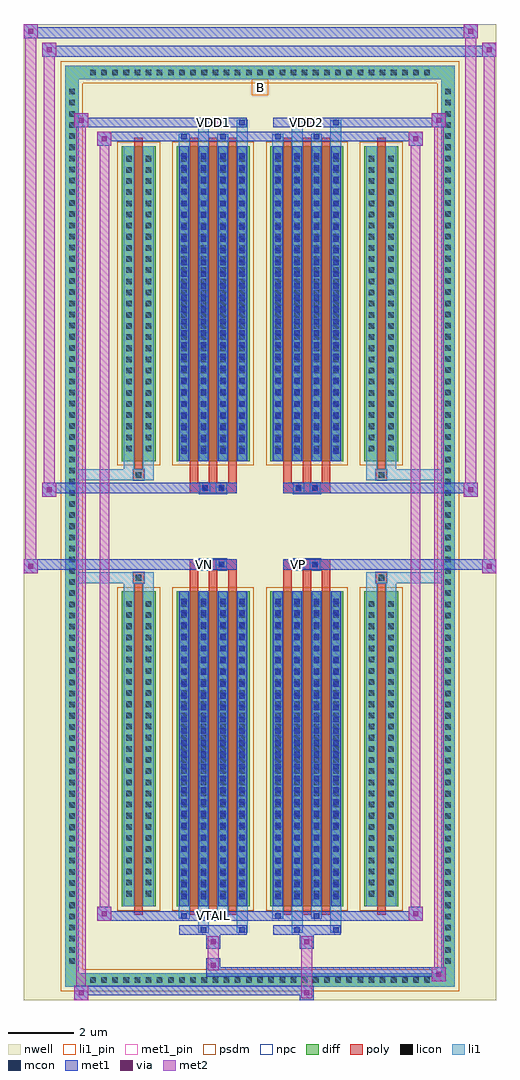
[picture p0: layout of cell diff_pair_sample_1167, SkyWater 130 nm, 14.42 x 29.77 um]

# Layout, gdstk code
import gdstk
lib = gdstk.Library(unit=1e-6, precision=5e-09)
def R(c, l, rs):  # rectangles x0, y0, x1, y1
    for r in rs: c.add(gdstk.rectangle(r[:2], r[2:], *l))
def A(c, l, x, y, w, h, nx, ny, dx, dy):  # array of equal rectangles
    R(c, l, [(x+i*dx, y+j*dy, x+i*dx+w, y+j*dy+h) for i in range(nx) for j in range(ny)])
def P(c, l, *ps):  # polygons
    for p in ps: c.add(gdstk.Polygon(p, *l))
nwell = (64, 20)
diff = (65, 20)
poly = (66, 20)
licon = (66, 44)
li1_pin = (67, 16)
li1 = (67, 20)
mcon = (67, 44)
met1_pin = (68, 16)
met1 = (68, 20)
via = (68, 44)
met2 = (69, 20)
psdm = (94, 20)
npc = (95, 20)

diff_pair_sample_1167 = lib.new_cell('diff_pair_sample_1167')
R(diff_pair_sample_1167, nwell, [(-7.21,-14.45,7.21,15.32), (-4.53,-12.64,-0.01,-0.8), (0.01,-12.64,4.53,-0.8), (-4.53,0.8,-0.01,12.64), (0.01,0.8,4.53,12.64)])
A(diff_pair_sample_1167, diff, -5.305, -14.05, 0.41, 0.41, 31, 2, 0.34, 27.69)
A(diff_pair_sample_1167, diff, -5.94, -13.465, 0.41, 0.41, 1, 79, 0, 0.34)
A(diff_pair_sample_1167, diff, 5.53, -13.465, 0.41, 0.41, 1, 79, 0, 0.34)
R(diff_pair_sample_1167, diff, [(-5.305,-14.05,5.305,-13.64), (-5.94,-13.465,-5.53,13.465), (5.53,-13.465,5.94,13.465), (-4.22,-11.595,-3.18,-1.985), (-2.54,-11.595,-0.32,-1.985), (0.32,-11.595,2.54,-1.985), (3.18,-11.595,4.22,-1.985), (-4.22,1.985,-3.18,11.595), (-2.54,1.985,-0.32,11.595), (0.32,1.985,2.54,11.595), (3.18,1.985,4.22,11.595), (-5.305,13.64,5.305,14.05)])
P(diff_pair_sample_1167, diff, [(5.94,14.05),(-5.94,14.05),(-5.94,-13.64),(-5.53,-13.64),(-5.53,13.64),(5.53,13.64),(5.53,-13.64),(-5.53,-13.64),(-5.94,-13.64),(-5.94,-14.05),(5.94,-14.05)])
A(diff_pair_sample_1167, poly, -2.15, -11.845, 0.26, 10.11, 3, 2, 0.59, 13.58)
A(diff_pair_sample_1167, poly, 0.71, -11.845, 0.26, 10.11, 3, 2, 0.59, 13.58)
A(diff_pair_sample_1167, poly, -2.15, -1.735, 0.26, 0.405, 3, 2, 0.59, 3.065)
A(diff_pair_sample_1167, poly, 0.71, -1.735, 0.26, 0.405, 3, 2, 0.59, 3.065)
R(diff_pair_sample_1167, poly, [(-3.83,-11.845,-3.57,-1.735), (3.57,-11.845,3.83,-1.735), (-3.865,-1.735,-3.535,-1.405), (-3.865,-1.735,-3.535,-1.405), (3.535,-1.735,3.865,-1.405), (3.535,-1.735,3.865,-1.405), (-2.15,-1.33,-0.71,-1), (-1.845,-1.33,-1.515,-1), (-1.345,-1.33,-1.015,-1), (0.71,-1.33,2.15,-1), (1.015,-1.33,1.345,-1), (1.515,-1.33,1.845,-1), (-2.15,1,-0.71,1.33), (-1.845,1,-1.515,1.33), (-1.345,1,-1.015,1.33), (0.71,1,2.15,1.33), (1.015,1,1.345,1.33), (1.515,1,1.845,1.33), (-3.865,1.405,-3.535,1.735), (-3.865,1.405,-3.535,1.735), (3.535,1.405,3.865,1.735), (3.535,1.405,3.865,1.735), (-3.83,1.735,-3.57,11.845), (3.57,1.735,3.83,11.845)])
A(diff_pair_sample_1167, licon, -5.185, -13.93, 0.17, 0.17, 31, 2, 0.34, 27.69)
A(diff_pair_sample_1167, licon, -5.82, -13.345, 0.17, 0.17, 1, 79, 0, 0.34)
A(diff_pair_sample_1167, licon, 5.65, -13.345, 0.17, 0.17, 1, 79, 0, 0.34)
A(diff_pair_sample_1167, licon, -4.08, -11.295, 0.17, 0.17, 1, 27, 0, 0.34)
A(diff_pair_sample_1167, licon, -3.49, -11.295, 0.17, 0.17, 1, 27, 0, 0.34)
A(diff_pair_sample_1167, licon, -2.4, -11.295, 0.17, 0.17, 4, 27, 0.59, 0.34)
A(diff_pair_sample_1167, licon, 0.46, -11.295, 0.17, 0.17, 4, 27, 0.59, 0.34)
A(diff_pair_sample_1167, licon, 3.32, -11.295, 0.17, 0.17, 1, 27, 0, 0.34)
A(diff_pair_sample_1167, licon, 3.91, -11.295, 0.17, 0.17, 1, 27, 0, 0.34)
A(diff_pair_sample_1167, licon, -4.08, 2.285, 0.17, 0.17, 1, 27, 0, 0.34)
A(diff_pair_sample_1167, licon, -3.49, 2.285, 0.17, 0.17, 1, 27, 0, 0.34)
A(diff_pair_sample_1167, licon, -2.4, 2.285, 0.17, 0.17, 4, 27, 0.59, 0.34)
A(diff_pair_sample_1167, licon, 0.46, 2.285, 0.17, 0.17, 4, 27, 0.59, 0.34)
A(diff_pair_sample_1167, licon, 3.32, 2.285, 0.17, 0.17, 1, 27, 0, 0.34)
A(diff_pair_sample_1167, licon, 3.91, 2.285, 0.17, 0.17, 1, 27, 0, 0.34)
R(diff_pair_sample_1167, licon, [(-3.785,-1.655,-3.615,-1.485), (3.615,-1.655,3.785,-1.485), (-1.765,-1.25,-1.595,-1.08), (-1.265,-1.25,-1.095,-1.08), (1.095,-1.25,1.265,-1.08), (1.595,-1.25,1.765,-1.08), (-1.765,1.08,-1.595,1.25), (-1.265,1.08,-1.095,1.25), (1.095,1.08,1.265,1.25), (1.595,1.08,1.765,1.25), (-3.785,1.485,-3.615,1.655), (3.615,1.485,3.785,1.655)])
R(diff_pair_sample_1167, li1_pin, [(-0.25,13.14,0.25,13.64)])
A(diff_pair_sample_1167, li1, -5.265, -14.01, 0.33, 0.33, 31, 2, 0.34, 27.69)
A(diff_pair_sample_1167, li1, -5.9, -13.425, 0.33, 0.33, 1, 79, 0, 0.34)
A(diff_pair_sample_1167, li1, 5.57, -13.425, 0.33, 0.33, 1, 79, 0, 0.34)
A(diff_pair_sample_1167, li1, -2.48, -11.595, 0.33, 9.61, 4, 2, 0.59, 13.58)
A(diff_pair_sample_1167, li1, 0.38, -11.595, 0.33, 9.61, 4, 2, 0.59, 13.58)
A(diff_pair_sample_1167, li1, -4.16, -11.375, 0.33, 0.33, 1, 27, 0, 0.34)
A(diff_pair_sample_1167, li1, -3.57, -11.375, 0.33, 0.33, 1, 27, 0, 0.34)
A(diff_pair_sample_1167, li1, -2.48, -11.375, 0.33, 0.33, 4, 27, 0.59, 0.34)
A(diff_pair_sample_1167, li1, -2.4, -11.375, 0.17, 0.17, 4, 26, 0.59, 0.36)
A(diff_pair_sample_1167, li1, -2.4, -11.375, 0.17, 9.17, 4, 2, 0.59, 13.58)
A(diff_pair_sample_1167, li1, 0.38, -11.375, 0.33, 0.33, 4, 27, 0.59, 0.34)
A(diff_pair_sample_1167, li1, 0.46, -11.375, 0.17, 0.17, 4, 26, 0.59, 0.36)
A(diff_pair_sample_1167, li1, 0.46, -11.375, 0.17, 9.17, 4, 2, 0.59, 13.58)
A(diff_pair_sample_1167, li1, 3.24, -11.375, 0.33, 0.33, 1, 27, 0, 0.34)
A(diff_pair_sample_1167, li1, 3.83, -11.375, 0.33, 0.33, 1, 27, 0, 0.34)
A(diff_pair_sample_1167, li1, -4.16, 2.205, 0.33, 0.33, 1, 27, 0, 0.34)
A(diff_pair_sample_1167, li1, -3.57, 2.205, 0.33, 0.33, 1, 27, 0, 0.34)
A(diff_pair_sample_1167, li1, -2.48, 2.205, 0.33, 0.33, 4, 27, 0.59, 0.34)
A(diff_pair_sample_1167, li1, -2.4, 2.205, 0.17, 0.17, 4, 26, 0.59, 0.36)
A(diff_pair_sample_1167, li1, 0.38, 2.205, 0.33, 0.33, 4, 27, 0.59, 0.34)
A(diff_pair_sample_1167, li1, 0.46, 2.205, 0.17, 0.17, 4, 26, 0.59, 0.36)
A(diff_pair_sample_1167, li1, 3.24, 2.205, 0.33, 0.33, 1, 27, 0, 0.34)
A(diff_pair_sample_1167, li1, 3.83, 2.205, 0.33, 0.33, 1, 27, 0, 0.34)
R(diff_pair_sample_1167, li1, [(-5.94,-14.05,-5.53,-13.64), (-5.94,-14.05,-5.53,-13.64), (-5.53,-14.05,5.53,-13.64), (5.53,-14.05,5.94,-13.64), (5.53,-14.05,5.94,-13.64), (-5.94,-13.64,-5.53,13.64), (5.53,-13.64,5.94,13.64), (-1.89,-12.4,-1.56,-11.595), (-1.81,-12.4,-1.64,-12.23), (-0.71,-12.4,-0.38,-11.595), (-0.63,-12.4,-0.46,-12.23), (0.97,-12.4,1.3,-11.595), (1.05,-12.4,1.22,-12.23), (2.15,-12.4,2.48,-11.595), (2.23,-12.4,2.4,-12.23), (-2.48,-11.97,-2.15,-11.595), (-2.4,-11.97,-2.23,-11.8), (-1.3,-11.97,-0.97,-11.595), (-1.22,-11.97,-1.05,-11.8), (0.38,-11.97,0.71,-11.595), (0.46,-11.97,0.63,-11.8), (1.56,-11.97,1.89,-11.595), (1.64,-11.97,1.81,-11.8), (-4.16,-11.595,-3.83,-1.985), (-3.57,-11.595,-3.24,-1.985), (3.24,-11.595,3.57,-1.985), (3.83,-11.595,4.16,-1.985), (-4.16,-1.985,-3.83,-1.405), (-3.57,-1.985,-3.24,-1.405), (3.24,-1.985,3.57,-1.405), (3.83,-1.985,4.16,-1.405), (-5.94,-1.735,-3.865,-1.405), (-4.16,-1.735,-3.865,-1.405), (-3.865,-1.735,-3.535,-1.405), (-3.535,-1.735,-3.24,-1.405), (3.24,-1.735,3.535,-1.405), (3.535,-1.735,3.865,-1.405), (3.535,-1.735,5.94,-1.405), (3.865,-1.735,4.16,-1.405), (-1.845,-1.33,-1.515,-1), (-1.345,-1.33,-1.015,-1), (1.015,-1.33,1.345,-1), (1.515,-1.33,1.845,-1), (-1.845,1,-1.515,1.33), (-1.345,1,-1.015,1.33), (1.015,1,1.345,1.33), (1.515,1,1.845,1.33), (-5.94,1.405,-3.865,1.735), (-4.16,1.405,-3.865,1.735), (-4.16,1.405,-3.83,1.985), (-3.865,1.405,-3.535,1.735), (-3.57,1.405,-3.24,1.985), (-3.535,1.405,-3.24,1.735), (3.24,1.405,3.535,1.735), (3.24,1.405,3.57,1.985), (3.535,1.405,3.865,1.735), (3.535,1.405,5.94,1.735), (3.83,1.405,4.16,1.985), (3.865,1.405,4.16,1.735), (-4.16,1.985,-3.83,11.595), (-3.57,1.985,-3.24,11.595), (3.24,1.985,3.57,11.595), (3.83,1.985,4.16,11.595), (-2.48,11.595,-2.15,11.97), (-1.89,11.595,-1.56,12.4), (-1.3,11.595,-0.97,11.97), (-0.71,11.595,-0.38,12.4), (0.38,11.595,0.71,11.97), (0.97,11.595,1.3,12.4), (1.56,11.595,1.89,11.97), (2.15,11.595,2.48,12.4), (-2.4,11.8,-2.23,11.97), (-1.22,11.8,-1.05,11.97), (0.46,11.8,0.63,11.97), (1.64,11.8,1.81,11.97), (-1.81,12.23,-1.64,12.4), (-0.63,12.23,-0.46,12.4), (1.05,12.23,1.22,12.4), (2.23,12.23,2.4,12.4), (-5.94,13.64,-5.53,14.05), (-5.94,13.64,-5.53,14.05), (-5.53,13.64,5.53,14.05), (5.53,13.64,5.94,14.05), (5.53,13.64,5.94,14.05)])
A(diff_pair_sample_1167, mcon, -2.4, -11.375, 0.17, 0.17, 4, 26, 0.59, 0.36)
A(diff_pair_sample_1167, mcon, 0.46, -11.375, 0.17, 0.17, 4, 26, 0.59, 0.36)
A(diff_pair_sample_1167, mcon, -2.4, 2.205, 0.17, 0.17, 4, 26, 0.59, 0.36)
A(diff_pair_sample_1167, mcon, 0.46, 2.205, 0.17, 0.17, 4, 26, 0.59, 0.36)
R(diff_pair_sample_1167, mcon, [(-1.81,-12.4,-1.64,-12.23), (-0.63,-12.4,-0.46,-12.23), (1.05,-12.4,1.22,-12.23), (2.23,-12.4,2.4,-12.23), (-2.4,-11.97,-2.23,-11.8), (-1.22,-11.97,-1.05,-11.8), (0.46,-11.97,0.63,-11.8), (1.64,-11.97,1.81,-11.8), (-1.765,-1.25,-1.595,-1.08), (-1.265,-1.25,-1.095,-1.08), (1.095,-1.25,1.265,-1.08), (1.595,-1.25,1.765,-1.08), (-1.765,1.08,-1.595,1.25), (-1.265,1.08,-1.095,1.25), (1.095,1.08,1.265,1.25), (1.595,1.08,1.765,1.25), (-2.4,11.8,-2.23,11.97), (-1.22,11.8,-1.05,11.97), (0.46,11.8,0.63,11.97), (1.64,11.8,1.81,11.97), (-1.81,12.23,-1.64,12.4), (-0.63,12.23,-0.46,12.4), (1.05,12.23,1.22,12.4), (2.23,12.23,2.4,12.4)])
R(diff_pair_sample_1167, met1_pin, [(-1.565,-12.01,-1.295,-11.74), (-1.815,-1.29,-1.545,-1.02), (1.045,-1.29,1.315,-1.02), (-1.565,12.19,-1.295,12.46), (1.295,12.19,1.565,12.46)])
A(diff_pair_sample_1167, met1, -2.46, -11.595, 0.29, 9.61, 4, 2, 0.59, 13.58)
A(diff_pair_sample_1167, met1, 0.4, -11.595, 0.29, 9.61, 4, 2, 0.59, 13.58)
A(diff_pair_sample_1167, met1, -2.46, -11.435, 0.29, 0.29, 4, 26, 0.59, 0.36)
A(diff_pair_sample_1167, met1, 0.4, -11.435, 0.29, 0.29, 4, 26, 0.59, 0.36)
A(diff_pair_sample_1167, met1, -2.46, 2.145, 0.29, 0.29, 4, 26, 0.59, 0.36)
A(diff_pair_sample_1167, met1, 0.4, 2.145, 0.29, 0.29, 4, 26, 0.59, 0.36)
R(diff_pair_sample_1167, met1, [(-5.67,-14.45,-5.24,-14.02), (1.215,-14.45,1.645,-14.02), (-5.67,-14.31,1.645,-14.02), (5.24,-13.88,5.67,-13.45), (-1.645,-13.74,5.67,-13.45), (-1.645,-13.6,-1.215,-13.17), (-1.645,-12.89,-1.215,-12.46), (1.215,-12.89,1.645,-12.46), (-2.46,-12.46,-0.4,-12.17), (-1.87,-12.46,-1.58,-12.17), (-0.69,-12.46,-0.4,-12.17), (0.4,-12.46,2.46,-12.17), (0.99,-12.46,1.28,-12.17), (2.17,-12.46,2.46,-12.17), (-4.96,-12.03,-4.53,-11.6), (-4.96,-12.03,-2.46,-11.74), (-2.46,-12.03,-2.17,-11.74), (-2.46,-12.03,-0.4,-11.74), (-1.28,-12.03,-0.99,-11.74), (-0.4,-12.03,0.4,-11.74), (0.4,-12.03,0.69,-11.74), (0.4,-12.03,2.46,-11.74), (1.58,-12.03,1.87,-11.74), (2.46,-12.03,4.96,-11.74), (4.53,-12.03,4.96,-11.6), (-7.21,-1.43,-6.78,-1), (6.78,-1.43,7.21,-1), (-7.21,-1.33,-0.71,-1), (-2.15,-1.33,-0.71,-1), (0.71,-1.33,2.15,-1), (0.71,-1.33,7.21,-1), (-1.825,-1.31,-1.535,-1.02), (-1.325,-1.31,-1.035,-1.02), (1.035,-1.31,1.325,-1.02), (1.535,-1.31,1.825,-1.02), (-6.64,0.9,-6.21,1.33), (6.21,0.9,6.64,1.33), (-6.64,1,-2.15,1.33), (-2.15,1,-0.71,1.33), (0.71,1,2.15,1.33), (2.15,1,6.64,1.33), (-1.825,1.02,-1.535,1.31), (-1.325,1.02,-1.035,1.31), (1.035,1.02,1.325,1.31), (1.535,1.02,1.825,1.31), (-4.96,11.6,-4.53,12.03), (4.53,11.6,4.96,12.03), (-4.96,11.74,-2.46,12.03), (-2.46,11.74,-2.17,12.03), (-2.46,11.74,-0.4,12.03), (-1.28,11.74,-0.99,12.03), (-0.4,11.74,0.4,12.03), (0.4,11.74,0.69,12.03), (0.4,11.74,2.46,12.03), (1.58,11.74,1.87,12.03), (2.46,11.74,4.96,12.03), (-5.67,12.17,-5.24,12.6), (-5.67,12.17,-2.46,12.46), (-2.46,12.17,-0.4,12.46), (-1.87,12.17,-1.58,12.46), (-0.69,12.17,-0.4,12.46), (0.4,12.17,2.46,12.46), (0.99,12.17,1.28,12.46), (2.17,12.17,2.46,12.46), (2.46,12.17,5.67,12.46), (5.24,12.17,5.67,12.6), (-6.64,14.32,-6.21,14.75), (-6.64,14.32,-4.53,14.65), (-4.53,14.32,4.53,14.65), (4.53,14.32,7.21,14.65), (6.78,14.32,7.21,14.75), (-7.21,14.89,-6.78,15.32), (-7.21,14.89,-4.53,15.22), (-4.53,14.89,4.53,15.22), (4.53,14.89,6.64,15.22), (6.21,14.89,6.64,15.32)])
R(diff_pair_sample_1167, via, [(-5.53,-14.31,-5.38,-14.16), (1.355,-14.31,1.505,-14.16), (5.38,-13.74,5.53,-13.59), (-1.505,-13.46,-1.355,-13.31), (-1.505,-12.75,-1.355,-12.6), (1.355,-12.75,1.505,-12.6), (-4.82,-11.89,-4.67,-11.74), (4.67,-11.89,4.82,-11.74), (-7.07,-1.29,-6.92,-1.14), (6.92,-1.29,7.07,-1.14), (-6.5,1.04,-6.35,1.19), (6.35,1.04,6.5,1.19), (-4.82,11.74,-4.67,11.89), (4.67,11.74,4.82,11.89), (-5.53,12.31,-5.38,12.46), (5.38,12.31,5.53,12.46), (-6.5,14.46,-6.35,14.61), (6.92,14.46,7.07,14.61), (-7.07,15.03,-6.92,15.18), (6.35,15.03,6.5,15.18)])
R(diff_pair_sample_1167, met2, [(-5.67,-14.45,-5.24,-14.02), (-5.6,-14.45,-5.31,12.6), (-5.31,-14.45,-5.24,-14.02), (-5.62,-14.4,-5.29,-14.07), (1.265,-14.4,1.595,-14.07), (1.265,-14.07,1.595,-12.84), (5.24,-13.88,5.67,-13.45), (5.31,-13.88,5.6,12.6), (5.6,-13.88,5.67,-13.45), (5.29,-13.83,5.62,-13.5), (-1.595,-13.55,-1.265,-13.22), (-1.595,-13.22,-1.265,-12.84), (-1.595,-12.84,-1.265,-12.51), (1.265,-12.84,1.595,-12.51), (-4.96,-12.03,-4.53,-11.6), (-4.89,-12.03,-4.6,12.03), (-4.6,-12.03,-4.53,-11.6), (4.53,-12.03,4.96,-11.6), (4.6,-12.03,4.89,12.03), (4.89,-12.03,4.96,-11.6), (-4.91,-11.98,-4.58,-11.65), (4.58,-11.98,4.91,-11.65), (-7.21,-1.43,-6.78,-1), (-7.16,-1.43,-6.83,15.32), (-6.83,-1.43,-6.78,-1), (6.78,-1.43,7.21,-1), (6.83,-1.43,7.16,14.75), (7.16,-1.43,7.21,-1), (-7.16,-1.38,-6.83,-1.05), (6.83,-1.38,7.16,-1.05), (-6.64,0.9,-6.21,1.33), (-6.59,0.9,-6.26,14.75), (-6.26,0.9,-6.21,1.33), (6.21,0.9,6.64,1.33), (6.26,0.9,6.59,15.32), (6.59,0.9,6.64,1.33), (-6.59,0.95,-6.26,1.28), (6.26,0.95,6.59,1.28), (-4.96,11.6,-4.53,12.03), (-4.6,11.6,-4.53,12.03), (4.53,11.6,4.96,12.03), (4.89,11.6,4.96,12.03), (-4.91,11.65,-4.58,11.98), (4.58,11.65,4.91,11.98), (-5.67,12.17,-5.24,12.6), (-5.31,12.17,-5.24,12.6), (5.24,12.17,5.67,12.6), (5.6,12.17,5.67,12.6), (-5.62,12.22,-5.29,12.55), (5.29,12.22,5.62,12.55), (-6.64,14.32,-6.21,14.75), (-6.26,14.32,-6.21,14.75), (6.78,14.32,7.21,14.75), (7.16,14.32,7.21,14.75), (-6.59,14.37,-6.26,14.7), (6.83,14.37,7.16,14.7), (-7.21,14.89,-6.78,15.32), (-6.83,14.89,-6.78,15.32), (6.21,14.89,6.64,15.32), (6.59,14.89,6.64,15.32), (-7.16,14.94,-6.83,15.27), (6.26,14.94,6.59,15.27)])
R(diff_pair_sample_1167, psdm, [(-4.35,-11.725,-3.05,-1.855), (-2.67,-11.725,-0.19,-1.855), (0.19,-11.725,2.67,-1.855), (3.05,-11.725,4.35,-1.855), (-4.35,1.855,-3.05,11.725), (-2.67,1.855,-0.19,11.725), (0.19,1.855,2.67,11.725), (3.05,1.855,4.35,11.725)])
P(diff_pair_sample_1167, psdm, [(6.07,14.18),(-6.07,14.18),(-6.07,-13.51),(-5.4,-13.51),(-5.4,13.51),(5.4,13.51),(5.4,-13.51),(-5.4,-13.51),(-6.07,-13.51),(-6.07,-14.18),(6.07,-14.18)])
R(diff_pair_sample_1167, npc, [(-3.885,-1.755,-3.515,-1.385), (3.515,-1.755,3.885,-1.385), (-1.865,-1.35,-1.495,-0.98), (-1.865,-1.35,-0.995,-0.98), (-1.865,-1.35,-0.995,-0.98), (-1.365,-1.35,-0.995,-0.98), (0.995,-1.35,1.365,-0.98), (0.995,-1.35,1.865,-0.98), (0.995,-1.35,1.865,-0.98), (1.495,-1.35,1.865,-0.98), (-1.865,0.98,-1.495,1.35), (-1.865,0.98,-0.995,1.35), (-1.865,0.98,-0.995,1.35), (-1.365,0.98,-0.995,1.35), (0.995,0.98,1.365,1.35), (0.995,0.98,1.865,1.35), (0.995,0.98,1.865,1.35), (1.495,0.98,1.865,1.35), (-3.885,1.385,-3.515,1.755), (3.515,1.385,3.885,1.755)])
diff_pair_sample_1167.add(gdstk.Label('VTAIL', (-1.43,-11.875), layer=68, texttype=5))
diff_pair_sample_1167.add(gdstk.Label('VN', (-1.68,-1.155), layer=68, texttype=5))
diff_pair_sample_1167.add(gdstk.Label('VP', (1.18,-1.155), layer=68, texttype=5))
diff_pair_sample_1167.add(gdstk.Label('B', (0,13.39), layer=67, texttype=5))
diff_pair_sample_1167.add(gdstk.Label('VDD2', (1.43,12.325), layer=68, texttype=5))
diff_pair_sample_1167.add(gdstk.Label('VDD1', (-1.43,12.325), layer=68, texttype=5))

lib.write_gds('diff_pair_sample_1167.gds')
